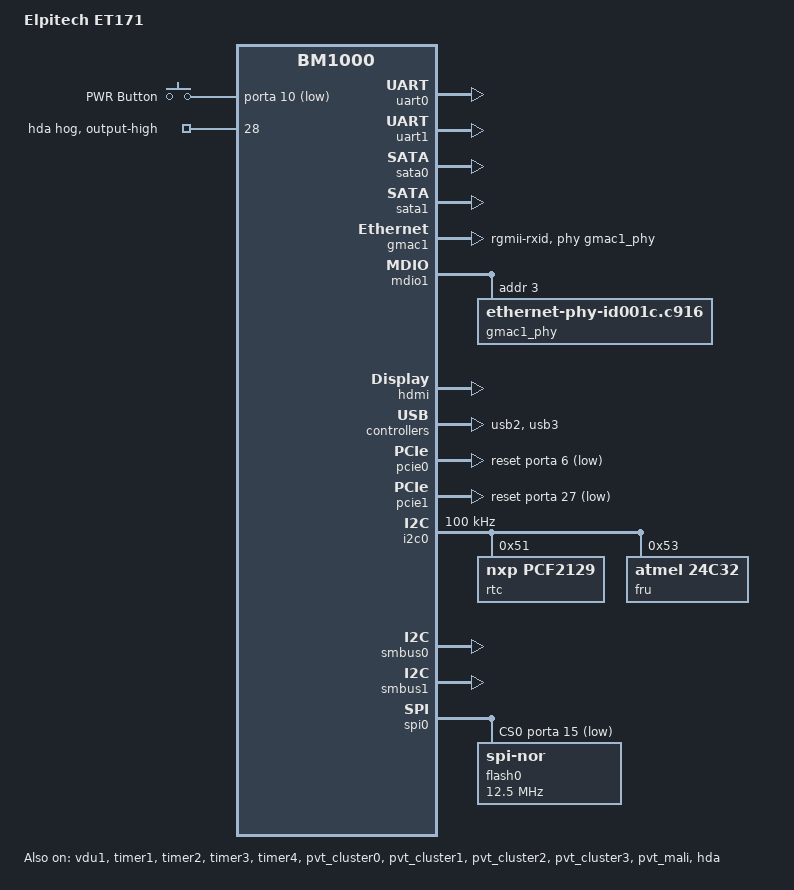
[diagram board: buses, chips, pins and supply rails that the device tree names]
// SPDX-License-Identifier: GPL-2.0
/*
 * Elpitech ET171 board device tree
 */

/dts-v1/;

#include "bm1000.dtsi"
#include <dt-bindings/net/realtek-phy-rtl8211f.h>
#include <dt-bindings/input/gpio-keys.h>
#include <dt-bindings/input/linux-event-codes.h>

/ {

	model = "Elpitech ET171";
	compatible = "baikal,baikal-m";
	#address-cells = <2>;
	#size-cells = <2>;

	aliases {
		ethernet0 = &gmac1;
		fru = &fru;
		m2-pcie = &pcie0;
	};

	chosen { };

	gpio-keys {
		compatible = "gpio-keys";
		pwr {
			label = "PWR Button";
			linux,code = <116>;
			gpios = <&porta 10 GPIO_ACTIVE_LOW>;
			wakeup-source;
			wakeup-event-action = <EV_ACT_DEASSERTED>;
		};
	};
};

&uart0 {
	status = "okay";
};

&uart1 {
	status = "okay";
};

&sata0 {
	status = "okay";
};

&sata1 {
	status = "okay";
};

&gmac1 {
	status = "okay";
	snps,reset-gpios = <&porta 20 GPIO_ACTIVE_LOW>;
	snps,reset-delays-us = <10>, <10000>, <50000>;
	clk_csr = <0x3>;
	phy-mode = "rgmii-rxid";
	phy-handle = <&gmac1_phy>;
};

&mdio1 {
	gmac1_phy: ethernet-phy@3 {
		compatible = "ethernet-phy-id001c.c916", "ethernet-phy-ieee802.3-c22";
		reg = <0x3>;
		realtek,led-mode = <RTL8211F_LED_MODE_B>;
		realtek,led0-control = <RTL8211F_LINK10_100_1000_ACT>;
		realtek,led1-control = <RTL8211F_LINK1000>;
		realtek,led2-control = <RTL8211F_LINK100>;
	};
};

&hdmi {
	status = "okay";
};

&vdu1 {
	status = "okay";
};

&gpio32 {
	status = "okay";
};

&usb2 {
	status = "okay";
};

&usb3 {
	status = "okay";
};

&pcie0 {
	status = "okay";
	reset-gpios = <&porta 6 GPIO_ACTIVE_LOW>;
};

&pcie1 {
	status = "okay";
	reset-gpios = <&porta 27 GPIO_ACTIVE_LOW>;
};

&timer1 {
	status = "okay";
};

&timer2 {
	status = "okay";
};

&timer3 {
	status = "okay";
};

&timer4 {
	status = "okay";
};

&pvt_cluster0 {
	status = "okay";
};

&pvt_cluster1 {
	status = "okay";
};

&pvt_cluster2 {
	status = "okay";
};

&pvt_cluster3 {
	status = "okay";
};

&pvt_mali {
	status = "okay";
};

&i2c0 {
	status = "okay";
	clock-frequency = <100000>;

	rtc@51 {
		compatible = "nxp,pcf2129", "nxp,pcf2127";
		reg = <0x51>;
	};

	fru: eeprom@53 {
		compatible = "atmel,24c32";
		pagesize = <32>;
		reg = <0x53>;
	};
};

&smbus0 {
	status = "okay";
};

&smbus1 {
	status = "okay";
};

&spi0 {
	num-cs = <4>;

	cs-gpios = <&porta 15 GPIO_ACTIVE_LOW>, <0>;
	status = "okay";
	flash0: flash@0 {
		compatible = "jedec,spi-nor";
		reg = <0>;
		#address-cells = <1>;
		#size-cells = <1>;
		spi-max-frequency = <12500000>;
		status = "okay";

		/* Flash chip0 partitions */
		mtd0@0 {
			label = "bl1";
			reg = <0x00000000 0x00040000>;
			read-only;
		};

		mtd1@40000 {
			label = "fip";
			reg = <0x00040000 0x007c0000>;
		};

		mtd2@800000 {
			label = "rescue";
			reg = <0x00800000 0x01800000>;
		};
	};
};

&hda {
	status = "okay";
	patch-data = "[codec]\n\
0x111d76d5 0x00000100 0\n\
[model]\n\
et171\n\
[pincfg]\n\
0x0a 0x0121411f\n\
0x0b 0x02014110\n\
0x0c 0x01a19120\n\
0x0e 0x42a19021\n\
0x0f 0x70819040\n\
0x11 0x70a3014e\n\
0x1f 0x70451160\n\
[verb]\n\
0x0b 0x707 0xc0\n\
0x0b 0x701 0x01\n\
0x0e 0x707 0x20\n\
0x11 0x707 0x00\n\
0x1f 0x707 0x00\n\
0x17 0x701 0x03\n\
0x1b 0x360 0x17\n\
0x1b 0x350 0x17\n\
0x1b 0x361 0x17\n\
0x1b 0x351 0x17\n";
};

&vdu0 {
	status = "okay";
	num-lanes = <2>;
	lvds-lanes = <2>;
	port {
		#address-cells = <1>;
		#size-cells = <0>;
		vdu_lvds0_pads: endpoint@0 {
			reg = <0>;
			remote-endpoint = <&stdp_lvds_in0>;
		};
		vdu_lvds1_pads: endpoint@1 {
			reg = <1>;
			remote-endpoint = <&stdp_lvds_in1>;
		};
	};
};

&i2c0 {
	stdp_bridge@73 {
		compatible = "megachips,stdp4028-lvds-dp";
		reg = <0x73>;
		channels = <2>;
		chan-cfg = <3>;
		interrupt-parent = <&porta>;
		interrupts = <29 IRQ_TYPE_LEVEL_HIGH>;
		reset-gpios = <&porta 30 GPIO_ACTIVE_HIGH>;

		port {
			#address-cells = <1>;
			#size-cells = <0>;

			stdp_lvds_in0: endpoint@0 {
				reg = <0>;
				remote-endpoint = <&vdu_lvds0_pads>;
			};
			stdp_lvds_in1: endpoint@1 {
				reg = <1>;
				remote-endpoint = <&vdu_lvds1_pads>;
			};
		};
	};
};

&porta {
	m2e_w_dis {
		line_name = "M2M-W-DIS";
		gpio-hog;
		gpios = <28 GPIO_ACTIVE_HIGH>;
		output-high;
	};
};
